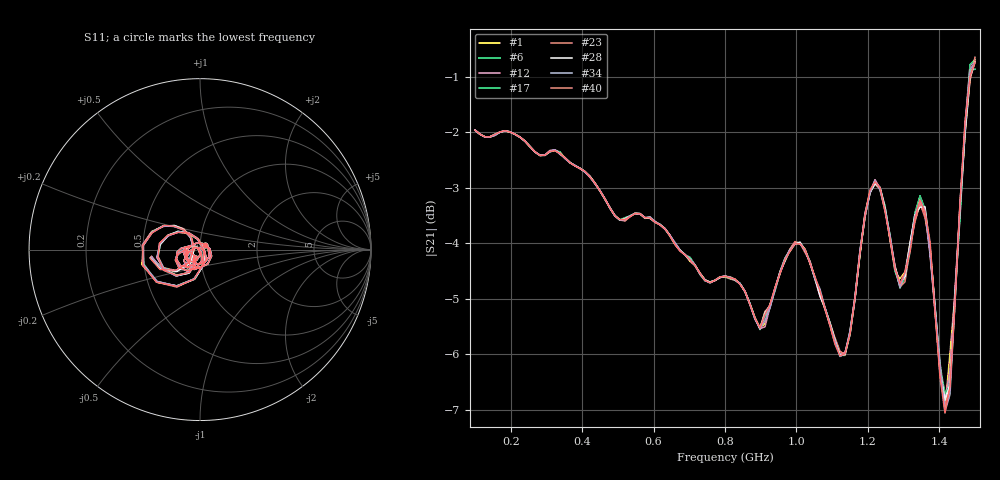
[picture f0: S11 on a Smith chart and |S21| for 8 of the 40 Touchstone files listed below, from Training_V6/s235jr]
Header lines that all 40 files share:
! NanoVNA-App
! Start: 100MHz Stop: 1,5GHz Points: 101
! S-Parameter data: F S11 S21 S12 S22
# Hz S RI R 50
!  Frequency  S11_Real  S11_Imag  S21_Real  S21_Imag  S12_Real  S12_Imag  S22_Real  S22_Imag
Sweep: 100 MHz to 1.5 GHz
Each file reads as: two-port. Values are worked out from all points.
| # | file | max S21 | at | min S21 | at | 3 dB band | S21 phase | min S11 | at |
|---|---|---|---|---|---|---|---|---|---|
| 1 | s235jr (201).s2p | -0.72 dB | 1.5 GHz | -7.0 dB | 1.416 GHz | 100 MHz-618 MHz | 125 deg at 800 MHz | -40.0 dB | 660 MHz |
| 2 | s235jr (202).s2p | -0.76 dB | 1.5 GHz | -6.8 dB | 1.416 GHz | 100 MHz-632 MHz | 125 deg at 800 MHz | -39.6 dB | 660 MHz |
| 3 | s235jr (203).s2p | -0.79 dB | 1.5 GHz | -6.8 dB | 1.416 GHz | 100 MHz-632 MHz | 125 deg at 800 MHz | -40.0 dB | 660 MHz |
| 4 | s235jr (204).s2p | -0.62 dB | 1.5 GHz | -7.0 dB | 1.416 GHz | 100 MHz-604 MHz | 125 deg at 800 MHz | -40.4 dB | 660 MHz |
| 5 | s235jr (205).s2p | -0.75 dB | 1.5 GHz | -6.9 dB | 1.43 GHz | 100 MHz-632 MHz | 125 deg at 800 MHz | -39.9 dB | 660 MHz |
| 6 | s235jr (206).s2p | -0.86 dB | 1.5 GHz | -6.9 dB | 1.416 GHz | 100 MHz-632 MHz | 125 deg at 800 MHz | -40.7 dB | 660 MHz |
| 7 | s235jr (207).s2p | -0.68 dB | 1.5 GHz | -6.8 dB | 1.416 GHz | 100 MHz-618 MHz | 125 deg at 800 MHz | -40.1 dB | 660 MHz |
| 8 | s235jr (208).s2p | -0.68 dB | 1.5 GHz | -7.0 dB | 1.43 GHz | 100 MHz-618 MHz | 126 deg at 800 MHz | -40.4 dB | 660 MHz |
| 9 | s235jr (209).s2p | -0.70 dB | 1.5 GHz | -7.0 dB | 1.416 GHz | 100 MHz-618 MHz | 126 deg at 800 MHz | -40.6 dB | 660 MHz |
| 10 | s235jr (210).s2p | -0.69 dB | 1.5 GHz | -7.0 dB | 1.416 GHz | 100 MHz-618 MHz | 125 deg at 800 MHz | -40.0 dB | 660 MHz |
| 11 | s235jr (211).s2p | -0.49 dB | 1.5 GHz | -6.9 dB | 1.416 GHz | 100 MHz-478 MHz | 125 deg at 800 MHz | -39.9 dB | 660 MHz |
| 12 | s235jr (212).s2p | -0.69 dB | 1.5 GHz | -6.8 dB | 1.416 GHz | 100 MHz-618 MHz | 126 deg at 800 MHz | -40.6 dB | 660 MHz |
| 13 | s235jr (213).s2p | -0.65 dB | 1.5 GHz | -7.1 dB | 1.416 GHz | 100 MHz-604 MHz | 125 deg at 800 MHz | -40.5 dB | 660 MHz |
| 14 | s235jr (214).s2p | -0.63 dB | 1.5 GHz | -7.0 dB | 1.416 GHz | 100 MHz-506 MHz | 125 deg at 800 MHz | -40.1 dB | 660 MHz |
| 15 | s235jr (215).s2p | -0.74 dB | 1.5 GHz | -6.8 dB | 1.416 GHz | 100 MHz-618 MHz | 125 deg at 800 MHz | -40.6 dB | 660 MHz |
| 16 | s235jr (216).s2p | -0.57 dB | 1.5 GHz | -6.9 dB | 1.416 GHz | 100 MHz-492 MHz | 126 deg at 800 MHz | -40.3 dB | 660 MHz |
| 17 | s235jr (217).s2p | -0.69 dB | 1.5 GHz | -6.7 dB | 1.416 GHz | 100 MHz-618 MHz | 125 deg at 800 MHz | -40.1 dB | 660 MHz |
| 18 | s235jr (218).s2p | -0.73 dB | 1.5 GHz | -7.0 dB | 1.416 GHz | 100 MHz-618 MHz | 125 deg at 800 MHz | -40.0 dB | 660 MHz |
| 19 | s235jr (219).s2p | -0.82 dB | 1.5 GHz | -7.2 dB | 1.416 GHz | 100 MHz-632 MHz | 125 deg at 800 MHz | -40.0 dB | 660 MHz |
| 20 | s235jr (220).s2p | -0.72 dB | 1.5 GHz | -7.1 dB | 1.43 GHz | 100 MHz-618 MHz | 125 deg at 800 MHz | -40.3 dB | 660 MHz |
| 21 | s235jr (221).s2p | -0.66 dB | 1.5 GHz | -7.1 dB | 1.416 GHz | 100 MHz-604 MHz | 125 deg at 800 MHz | -40.2 dB | 660 MHz |
| 22 | s235jr (222).s2p | -0.71 dB | 1.5 GHz | -7.0 dB | 1.416 GHz | 100 MHz-618 MHz | 125 deg at 800 MHz | -40.1 dB | 660 MHz |
| 23 | s235jr (223).s2p | -0.65 dB | 1.5 GHz | -6.9 dB | 1.416 GHz | 100 MHz-604 MHz | 125 deg at 800 MHz | -39.9 dB | 660 MHz |
| 24 | s235jr (224).s2p | -0.55 dB | 1.5 GHz | -7.0 dB | 1.416 GHz | 100 MHz-492 MHz | 125 deg at 800 MHz | -40.6 dB | 660 MHz |
| 25 | s235jr (225).s2p | -0.77 dB | 1.5 GHz | -7.1 dB | 1.416 GHz | 100 MHz-632 MHz | 125 deg at 800 MHz | -39.9 dB | 660 MHz |
| 26 | s235jr (226).s2p | -0.69 dB | 1.5 GHz | -7.1 dB | 1.416 GHz | 100 MHz-618 MHz | 125 deg at 800 MHz | -39.6 dB | 660 MHz |
| 27 | s235jr (227).s2p | -0.56 dB | 1.5 GHz | -6.9 dB | 1.416 GHz | 100 MHz-492 MHz | 125 deg at 800 MHz | -40.1 dB | 660 MHz |
| 28 | s235jr (228).s2p | -0.74 dB | 1.5 GHz | -6.8 dB | 1.416 GHz | 100 MHz-618 MHz | 125 deg at 800 MHz | -39.7 dB | 660 MHz |
| 29 | s235jr (229).s2p | -0.74 dB | 1.5 GHz | -6.7 dB | 1.416 GHz | 100 MHz-632 MHz | 125 deg at 800 MHz | -39.7 dB | 660 MHz |
| 30 | s235jr (230).s2p | -0.65 dB | 1.5 GHz | -7.0 dB | 1.416 GHz | 100 MHz-604 MHz | 125 deg at 800 MHz | -40.0 dB | 660 MHz |
| 31 | s235jr (231).s2p | -0.65 dB | 1.5 GHz | -6.9 dB | 1.416 GHz | 100 MHz-604 MHz | 125 deg at 800 MHz | -40.8 dB | 660 MHz |
| 32 | s235jr (232).s2p | -0.61 dB | 1.5 GHz | -7.0 dB | 1.416 GHz | 100 MHz-604 MHz | 125 deg at 800 MHz | -40.2 dB | 660 MHz |
| 33 | s235jr (233).s2p | -0.71 dB | 1.5 GHz | -7.0 dB | 1.416 GHz | 100 MHz-618 MHz | 125 deg at 800 MHz | -40.6 dB | 660 MHz |
| 34 | s235jr (234).s2p | -0.74 dB | 1.5 GHz | -7.0 dB | 1.416 GHz | 100 MHz-632 MHz | 125 deg at 800 MHz | -40.6 dB | 660 MHz |
| 35 | s235jr (235).s2p | -0.70 dB | 1.5 GHz | -7.2 dB | 1.416 GHz | 100 MHz-618 MHz | 125 deg at 800 MHz | -39.9 dB | 660 MHz |
| 36 | s235jr (236).s2p | -0.59 dB | 1.5 GHz | -6.9 dB | 1.416 GHz | 100 MHz-590 MHz | 125 deg at 800 MHz | -39.8 dB | 660 MHz |
| 37 | s235jr (237).s2p | -0.72 dB | 1.5 GHz | -7.0 dB | 1.416 GHz | 100 MHz-618 MHz | 125 deg at 800 MHz | -40.5 dB | 660 MHz |
| 38 | s235jr (238).s2p | -0.79 dB | 1.5 GHz | -7.0 dB | 1.416 GHz | 100 MHz-632 MHz | 126 deg at 800 MHz | -39.7 dB | 660 MHz |
| 39 | s235jr (239).s2p | -0.50 dB | 1.5 GHz | -6.8 dB | 1.416 GHz | 100 MHz-478 MHz | 125 deg at 800 MHz | -39.7 dB | 660 MHz |
| 40 | s235jr (240).s2p | -0.75 dB | 1.5 GHz | -7.1 dB | 1.416 GHz | 100 MHz-632 MHz | 126 deg at 800 MHz | -40.2 dB | 660 MHz |
